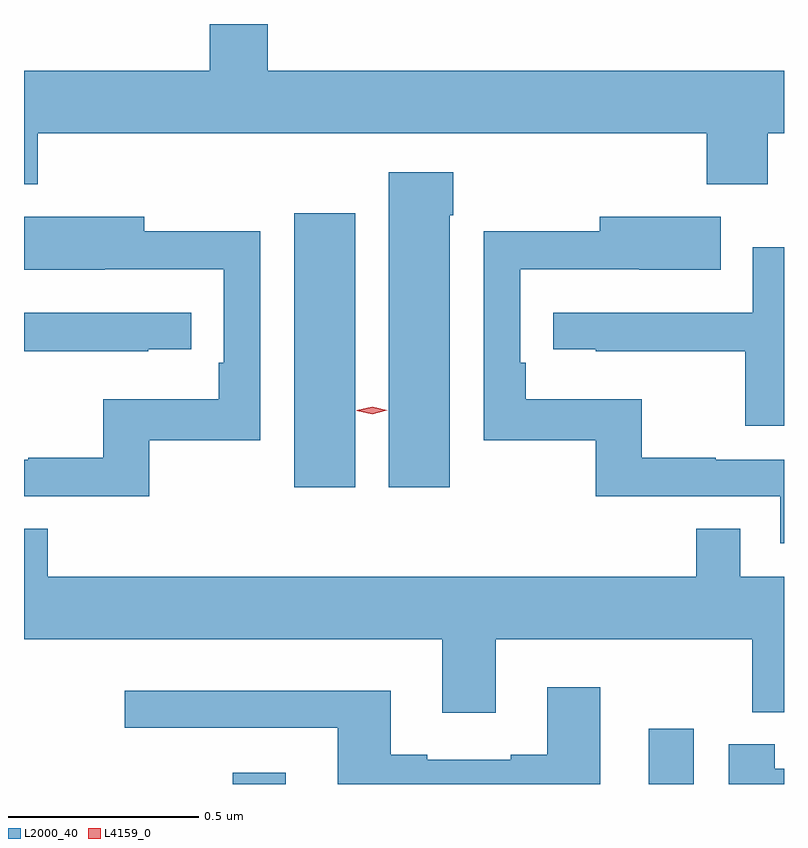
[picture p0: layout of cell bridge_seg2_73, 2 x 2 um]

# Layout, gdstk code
import gdstk
lib = gdstk.Library(unit=1e-6, precision=1e-09)
def R(c, l, rs):  # rectangles x0, y0, x1, y1
    for r in rs: c.add(gdstk.rectangle(r[:2], r[2:], *l))
def P(c, l, *ps):  # polygons
    for p in ps: c.add(gdstk.Polygon(p, *l))
L2000_40 = (2000, 40)
L4159_0 = (4159, 0)

bridge_seg2_73 = lib.new_cell('bridge_seg2_73')
R(bridge_seg2_73, L2000_40, [(1013.873,601.967,1014.013,601.996), (1014.968,601.967,1015.087,602.113), (1014.035,602.748,1014.196,603.469)])
P(bridge_seg2_73, L2000_40, [(1013.36,603.68),(1015.121,603.68),(1015.121,603.545),(1015.281,603.545),(1015.281,603.68),(1015.324,603.68),(1015.324,603.844),(1013.966,603.844),(1013.966,603.967),(1013.813,603.967),(1013.813,603.844),(1013.324,603.844),(1013.324,603.545),(1013.36,603.545)],
  [(1014.445,603.464),(1014.453,603.464),(1014.453,603.577),(1014.284,603.577),(1014.284,602.748),(1014.445,602.748)],
  [(1015.324,602.82),(1015.145,602.82),(1015.145,602.825),(1014.949,602.825),(1014.949,602.98),(1014.644,602.98),(1014.644,603.076),(1014.63,603.076),(1014.63,603.321),(1014.943,603.321),(1014.943,603.32),(1015.157,603.32),(1015.157,603.46),(1014.839,603.46),(1014.839,603.422),(1014.534,603.422),(1014.534,602.871),(1014.828,602.871),(1014.828,602.724),(1015.314,602.724),(1015.314,602.601),(1015.324,602.601)],
  [(1013.653,602.871),(1013.946,602.871),(1013.946,603.422),(1013.641,603.422),(1013.641,603.46),(1013.324,603.46),(1013.324,603.32),(1013.537,603.32),(1013.537,603.321),(1013.85,603.321),(1013.85,603.076),(1013.837,603.076),(1013.837,602.98),(1013.532,602.98),(1013.532,602.825),(1013.335,602.825),(1013.335,602.82),(1013.324,602.82),(1013.324,602.724),(1013.653,602.724)],
  [(1015.324,603.379),(1015.242,603.379),(1015.242,603.207),(1014.717,603.207),(1014.717,603.111),(1014.829,603.111),(1014.829,603.106),(1015.222,603.106),(1015.222,602.91),(1015.324,602.91)],
  [(1013.651,603.111),(1013.764,603.111),(1013.764,603.207),(1013.324,603.207),(1013.324,603.106),(1013.651,603.106)],
  [(1014.565,602.348),(1015.24,602.348),(1015.24,602.156),(1015.324,602.156),(1015.324,602.512),(1015.209,602.512),(1015.209,602.639),(1015.093,602.639),(1015.093,602.512),(1013.387,602.512),(1013.387,602.639),(1013.324,602.639),(1013.324,602.348),(1014.425,602.348),(1014.425,602.154),(1014.565,602.154)],
  [(1014.841,602.221),(1014.701,602.221),(1014.701,602.044),(1014.605,602.044),(1014.605,602.031),(1014.385,602.031),(1014.385,602.044),(1014.289,602.044),(1014.289,602.212),(1013.589,602.212),(1013.589,602.115),(1014.149,602.115),(1014.149,601.967),(1014.841,601.967)],
  [(1015.324,602.007),(1015.3,602.007),(1015.3,602.071),(1015.178,602.071),(1015.178,601.967),(1015.324,601.967)])
P(bridge_seg2_73, L4159_0, [(1014.24,602.94),(1014.2,602.949),(1014.2,602.95),(1014.2,602.95),(1014.24,602.96),(1014.28,602.95),(1014.28,602.95),(1014.28,602.95)])

lib.write_gds('bridge_seg2_73.gds')
